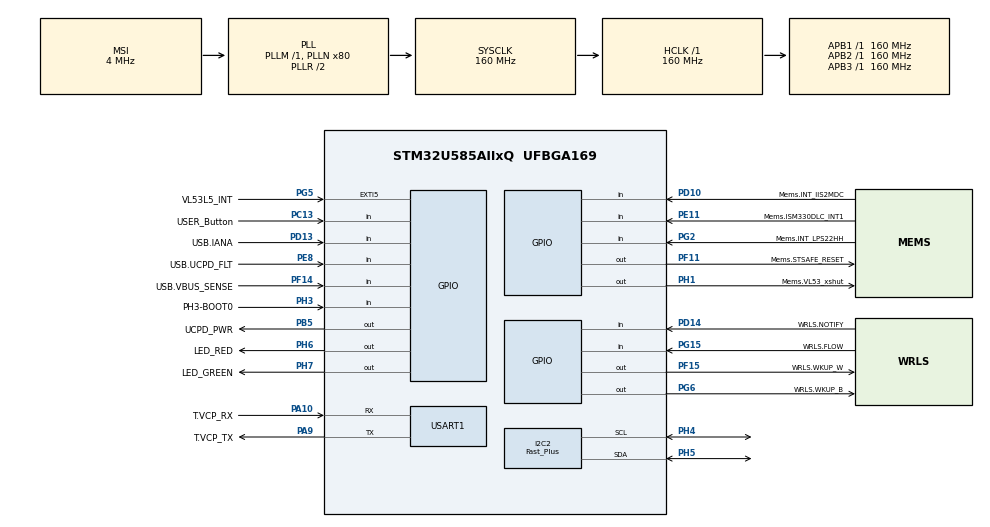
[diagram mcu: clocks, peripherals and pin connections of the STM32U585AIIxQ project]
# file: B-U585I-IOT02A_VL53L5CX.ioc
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CORTEX_M33_NS.userName=CORTEX_M33
I2C2.Analog_Filter=I2C_ANALOGFILTER_DISABLE
I2C2.I2C_Speed_Mode=I2C_Fast_Plus
I2C2.Timing=0x00702773
Mcu.Family=STM32U5
Mcu.Name=STM32U585AIIxQ
Mcu.Package=UFBGA169
NVIC.EXTI5_IRQn=true\:0\:0\:false\:false\:true\:true\:true\:true
NVIC.PriorityGroup=NVIC_PRIORITYGROUP_4
PA10.GPIO_Label=T.VCP_RX
PA10.Mode=Asynchronous
PA10.Signal=USART1_RX
PA11.GPIO_Label=USB.C_P
PA11.Signal=USB_OTG_FS_DM
PA12.GPIO_Label=USB.C_P
PA12.Signal=USB_OTG_FS_DP
PA13\ (JTMS/SWDIO).GPIO_Label=T.SWDIO
PA13\ (JTMS/SWDIO).Signal=DEBUG_JTMS-SWDIO
PA14\ (JTCK/SWCLK).GPIO_Label=T.SWCLK
PA14\ (JTCK/SWCLK).Signal=DEBUG_JTCK-SWCLK
PA15\ (JTDI).GPIO_Label=USB.UCPD_CC1
PA15\ (JTDI).Signal=UCPD1_CC1
PA9.GPIO_Label=T.VCP_TX
PA9.Mode=Asynchronous
PA9.Signal=USART1_TX
PB1.GPIO_Label=MIC.SDIN0
PB1.Signal=MDF1_SDI0
PB10.GPIO_Label=OCTOSPI.R_CLK_P
PB10.Signal=OCTOSPIM_P1_CLK
PB11.GPIO_Label=OCTOSPI.R_NCS
PB11.Signal=OCTOSPIM_P1_NCS
PB12.GPIO_Label=WRLS.SPI2_NSS
PB12.Signal=SPI2_NSS
PB15.GPIO_Label=USB.UCPD_CC2
PB15.Signal=UCPD1_CC2
PB3\ (JTDO/TRACESWO).GPIO_Label=T.SWO
PB3\ (JTDO/TRACESWO).Signal=DEBUG_JTDO-SWO
PB5.GPIO_Label=UCPD_PWR
PB5.Signal=GPIO_Output
PB8.Signal=I2C1_SCL
PB9.Signal=I2C1_SDA
PC10.GPIO_Label=WRLS.UART4_TX
PC10.Signal=UART4_TX
PC11.GPIO_Label=WRLS.UART4_RX
PC11.Signal=UART4_RX
PC13.GPIO_Label=USER_Button
PC13.Signal=GPIO_Input
PC14-OSC32_IN\ (PC14).GPIO_Label=PC14-OSC32_IN
PC14-OSC32_IN\ (PC14).Signal=RCC_OSC32_IN
PC15-OSC32_OUT\ (PC15).GPIO_Label=PC15-OSC32_OUT
PC15-OSC32_OUT\ (PC15).Signal=RCC_OSC32_OUT
PC3.GPIO_Label=OCTOSPI.R_IO6
PC3.Signal=OCTOSPIM_P1_IO6
PD1.GPIO_Label=WRLS.SPI2_SCK
PD1.Signal=SPI2_SCK
PD10.GPIO_Label=Mems.INT_IIS2MDC
PD10.Signal=GPIO_Input
PD13.GPIO_Label=USB.IANA
PD13.Signal=GPIO_Input
PD14.GPIO_Label=WRLS.NOTIFY
PD14.Signal=GPIO_Input
PD3.GPIO_Label=WRLS.SPI2_MISO
PD3.Signal=SPI2_MISO
PD4.GPIO_Label=WRLS.SPI2_MOSI
PD4.Signal=SPI2_MOSI
PD7.GPIO_Label=OCTOSPI.R_IO7
PD7.Signal=OCTOSPIM_P1_IO7
PE10.GPIO_Label=MIC.SDINx
PE10.Signal=ADF1_SDI0
PE11.GPIO_Label=Mems.ISM330DLC_INT1
PE11.Signal=GPIO_Input
PE3.GPIO_Label=OCTOSPI.R_DQS
PE3.Signal=OCTOSPIM_P1_DQS
PE8.GPIO_Label=USB.UCPD_FLT
PE8.Signal=GPIO_Input
PE9.GPIO_Label=MIC.CCK0
PE9.Signal=ADF1_CCK0
PF0.GPIO_Label=OCTOSPI.F_IO0
PF0.Signal=OCTOSPIM_P2_IO0
PF1.GPIO_Label=OCTOSPI.F_IO1
PF1.Signal=OCTOSPIM_P2_IO1
PF10.GPIO_Label=MIC.CCK1
PF10.Signal=MDF1_CCK1
PF11.GPIO_Label=Mems.STSAFE_RESET
PF11.Signal=GPIO_Output
PF12.GPIO_Label=OCTOSPI.F_DQS
PF12.Signal=OCTOSPIM_P2_DQS
PF14.GPIO_Label=USB.VBUS_SENSE
PF14.Signal=GPIO_Input
PF15.GPIO_Label=WRLS.WKUP_W
PF15.Signal=GPIO_Output
PF2.GPIO_Label=OCTOSPI.F_IO2
PF2.Signal=OCTOSPIM_P2_IO2
PF3.GPIO_Label=OCTOSPI.F_IO3
PF3.Signal=OCTOSPIM_P2_IO3
PF4.GPIO_Label=OCTOSPI.F_CLK_P
PF4.Signal=OCTOSPIM_P2_CLK
PF6.GPIO_Label=OCTOSPI.R_IO3
PF6.Signal=OCTOSPIM_P1_IO3
PF7.GPIO_Label=OCTOSPI.R_IO2
PF7.Signal=OCTOSPIM_P1_IO2
PF8.GPIO_Label=OCTOSPI.R_IO0
PF8.Signal=OCTOSPIM_P1_IO0
PF9.GPIO_Label=OCTOSPI.R_IO1
PF9.Signal=OCTOSPIM_P1_IO1
PG15.GPIO_Label=WRLS.FLOW
PG15.Signal=GPIO_Input
PG2.GPIO_Label=Mems.INT_LPS22HH
PG2.Signal=GPIO_Input
PG5.GPIO_Label=VL53L5_INT
PG5.GPIO_PuPd=GPIO_NOPULL
PG5.Signal=GPXTI5
PG6.GPIO_Label=WRLS.WKUP_B
PG6.Signal=GPIO_Output
PH1-OSC_OUT\ (PH1).GPIO_Label=Mems.VL53_xshut
PH1-OSC_OUT\ (PH1).GPIO_ModeDefaultOutputPP=GPIO_MODE_OUTPUT_PP
PH1-OSC_OUT\ (PH1).PinState=GPIO_PIN_SET
PH1-OSC_OUT\ (PH1).Signal=GPIO_Output
PH10.GPIO_Label=OCTOSPI.F_IO5
PH10.Signal=OCTOSPIM_P2_IO5
PH11.GPIO_Label=OCTOSPI.F_IO6
PH11.Signal=OCTOSPIM_P2_IO6
PH12.GPIO_Label=OCTOSPI.F_IO7
PH12.Signal=OCTOSPIM_P2_IO7
PH2.GPIO_Label=OCTOSPI.R_IO4
PH2.Signal=OCTOSPIM_P1_IO4
PH3-BOOT0.GPIO_Label=PH3-BOOT0
PH3-BOOT0.Signal=GPIO_Input
PH4.Mode=I2C
PH4.Signal=I2C2_SCL
PH5.Mode=I2C
PH5.Signal=I2C2_SDA
PH6.GPIO_Label=LED_RED
PH6.Signal=GPIO_Output
PH7.GPIO_Label=LED_GREEN
PH7.Signal=GPIO_Output
PH9.GPIO_Label=OCTOSPI.F_IO4
PH9.Signal=OCTOSPIM_P2_IO4
PI0.GPIO_Label=OCTOSPI.R_IO5
PI0.Signal=OCTOSPIM_P1_IO5
PI5.GPIO_Label=OCTOSPI.F_NCS
PI5.Signal=OCTOSPIM_P2_NCS
PWR.PowerMode=PWR_SMPS_SUPPLY
ProjectManager.HeapSize=0x200
ProjectManager.StackSize=0x400
ProjectManager.TargetToolchain=STM32CubeIDE
RCC.ADCFreq_Value=16000000
RCC.AHBFreq_Value=160000000
RCC.APB1Freq_Value=160000000
RCC.APB1TimFreq_Value=160000000
RCC.APB2Freq_Value=160000000
RCC.APB2TimFreq_Value=160000000
RCC.APB3Freq_Value=160000000
RCC.CortexFreq_Value=160000000
RCC.DACCLockSelectionVirtual=RCC_DAC1CLKSOURCE_LSI
RCC.DACCLockSelectionVirtualString=RCC_DAC1CLKSOURCE_LSI
RCC.EPOD_VALUE=4000000
RCC.HCLKFreq_Value=160000000
RCC.HSE_VALUE=16000000
RCC.HSI48_VALUE=48000000
RCC.HSI_VALUE=16000000
RCC.LSE_VALUE=32768
RCC.LSIDIV_VALUE=32000
RCC.MSI_VALUE=4000000
RCC.PLLN=80
RCC.SYSCLKFreq_VALUE=160000000
RCC.SYSCLKSource=RCC_SYSCLKSOURCE_PLLCLK
RCC.USBFreq_Value=48000000
RCC.VCOOutputFreq_Value=320000000
USART1.VirtualMode-Asynchronous=VM_ASYNC
VP_LPBAMQUEUE_VS_QUEUE.Mode=QUEUEMODE
VP_LPBAM_VS_SIG1.Mode=SmartRun
VP_LPBAM_VS_SIG4.Mode=LPDMA1
VP_PWR_VS_LPOM.Mode=PowerOptimisation
VP_PWR_VS_SECSignals.Mode=Security/Privilege
board=B-U585I-IOT02A

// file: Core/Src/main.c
/* USER CODE BEGIN Header */
/**
  ******************************************************************************
  * @file           : main.c
  * @brief          : Main program body
  ******************************************************************************
  * @attention
  *
  * Copyright (c) 2022 STMicroelectronics.
  * All rights reserved.
  *
  * This software is licensed under terms that can be found in the LICENSE file
  * in the root directory of this software component.
  * If no LICENSE file comes with this software, it is provided AS-IS.
  *
  ******************************************************************************
  */
/* USER CODE END Header */
#include "main.h"

/* USER CODE BEGIN Includes */
#include <stdlib.h>
#include <string.h>
#include <stdio.h>
#include "vl53l5cx_api.h"
#include "cycle_dwt.h"
#include "NanoEdgeAI.h"

/* USER CODE END Includes */

/* USER CODE BEGIN PD */
/************************************************************ NEAI algorithm defines begin ************************************************************/
/************************************************************ Global settings part ************************************************************/
#ifndef FRAME_RESOLUTION
  #define FRAME_RESOLUTION 	64                                   /* 16 if resolution is VL53L5CX_RESOLUTION_4X4 else, 64 if VL53L5CX_RESOLUTION_8X8 */
#endif
#ifndef FRAMES
  #define FRAMES            	1                                     /* Should be between 1 & 32 */
#endif
#ifndef DISTANCE_ODR
  #define DISTANCE_ODR      	15                                    /* Should be between 1 -> 60Hz for VL53L5CX_RESOLUTION_4X4 and 1 -> 15Hz for VL53L5CX_RESOLUTION_8X8 */
#endif
/************************************************************ Datalogger / NEAI mode part ************************************************************/
#ifndef NEAI_MODE
  #define NEAI_MODE         	0                                     /* 0: Datalogger mode, 1: NEAI functions mode */
#endif
#if (NEAI_MODE == 1)
  #ifndef NEAI_LEARN_NB
    #define NEAI_LEARN_NB   	20                                    /* Number of buffers to be learn by the NEAI library */
  #endif
#endif
/* USER CODE END PD */

I2C_HandleTypeDef hi2c2;

UART_HandleTypeDef huart1;

/* USER CODE BEGIN PV */
uint8_t status, isAlive, isReady;
uint8_t frame_counter = 0, neai_similarity = 0, neai_state = 0;
volatile uint8_t vl53l5_data_ready = 0;
uint16_t neai_cnt = 0;
float neai_time = 0.0;
float neai_buffer[FRAME_RESOLUTION * FRAMES] = {0.0};
VL53L5CX_Configuration Dev; /* Sensor configuration */
VL53L5CX_ResultsData Results; /* Results data from VL53L5CX */

/* USER CODE END PV */

void SystemClock_Config(void);
static void SystemPower_Config(void);
static void MX_GPIO_Init(void);
static void MX_I2C2_Init(void);
static void MX_USART1_UART_Init(void);
/* USER CODE BEGIN PFP */
static void vl53l5cx_initialize(void);

/* USER CODE END PFP */

int main(void)
{
  /* USER CODE BEGIN 1 */
  Dev.platform.address = VL53L5CX_DEFAULT_I2C_ADDRESS;
  /* USER CODE END 1 */

  /* MCU Configuration--------------------------------------------------------*/

  /* Reset of all peripherals, Initializes the Flash interface and the Systick. */
  HAL_Init();

  /* Configure the system clock */
  SystemClock_Config();

  /* Configure the System Power */
  SystemPower_Config();

  /* Initialize all configured peripherals */
  MX_GPIO_Init();
  MX_I2C2_Init();
  MX_USART1_UART_Init();
  /* USER CODE BEGIN 2 */
  KIN1_InitCycleCounter();
  KIN1_EnableCycleCounter();
  vl53l5cx_initialize();
  if (NEAI_MODE) {
    neai_state = neai_anomalydetection_init();
    printf("Initialize NEAI library. NEAI init return: %d.\n",  neai_state);
  }
  /* USER CODE END 2 */

  /* Infinite loop */
  /* USER CODE BEGIN WHILE */
  while (1)
  {
    if(vl53l5_data_ready) {
      vl53l5cx_get_ranging_data(&Dev, &Results);
      for(uint16_t i = 0; i < FRAME_RESOLUTION; i++)
      {
        neai_buffer[(frame_counter * FRAME_RESOLUTION) + i] =
        (Results.target_status[VL53L5CX_NB_TARGET_PER_ZONE * i] != 0xFF) ? Results.distance_mm[VL53L5CX_NB_TARGET_PER_ZONE * i] : 0;
      }
      if (frame_counter < FRAMES - 1) {
        frame_counter++;
      }
      else {
        status = vl53l5cx_stop_ranging(&Dev);
        frame_counter = 0;
#if NEAI_MODE
        uint32_t cycles_cnt = 0;
        if (neai_cnt < NEAI_LEARN_NB) {
          neai_cnt++;
          KIN1_ResetCycleCounter();
          neai_state = neai_anomalydetection_learn(neai_buffer);
          cycles_cnt = KIN1_GetCycleCounter();
          neai_time = (cycles_cnt * 1000000.0) / HAL_RCC_GetSysClockFreq();
          printf("Learn: %d / %d. NEAI learn return: %d. Cycles counter: %ld = %.1f µs at %ld Hz.\n",
                neai_cnt, NEAI_LEARN_NB, neai_state, cycles_cnt, neai_time, HAL_RCC_GetSysClockFreq());
        }
        else {
          KIN1_ResetCycleCounter();
          neai_state = neai_anomalydetection_detect(neai_buffer, &neai_similarity);
          cycles_cnt = KIN1_GetCycleCounter();
          neai_time = (cycles_cnt * 1000000.0) / HAL_RCC_GetSysClockFreq();
          printf("Similarity: %d / 100. NEAI detect return: %d. Cycles counter: %ld = %.1f µs at %ld Hz.\n",
                neai_similarity, neai_state, cycles_cnt, neai_time, HAL_RCC_GetSysClockFreq());
        }
#else
        for (uint16_t i = 0; i < (uint16_t) (FRAME_RESOLUTION * FRAMES); i++) {
          printf("%.3f ", neai_buffer[i]);
        }
        printf("\n");
#endif
        status = vl53l5cx_start_ranging(&Dev);
      }
      vl53l5_data_ready = 0;
    }
    /* USER CODE END WHILE */

  }
}

void SystemClock_Config(void)
{
  RCC_OscInitTypeDef RCC_OscInitStruct = {0};
  RCC_ClkInitTypeDef RCC_ClkInitStruct = {0};

  /** Configure the main internal regulator output voltage
  */
  if (HAL_PWREx_ControlVoltageScaling(PWR_REGULATOR_VOLTAGE_SCALE1) != HAL_OK)
  {
    Error_Handler();
  }

  /** Initializes the CPU, AHB and APB buses clocks
  */
  RCC_OscInitStruct.OscillatorType = RCC_OSCILLATORTYPE_MSI;
  RCC_OscInitStruct.MSIState = RCC_MSI_ON;
  RCC_OscInitStruct.MSICalibrationValue = RCC_MSICALIBRATION_DEFAULT;
  RCC_OscInitStruct.MSIClockRange = RCC_MSIRANGE_4;
  RCC_OscInitStruct.PLL.PLLState = RCC_PLL_ON;
  RCC_OscInitStruct.PLL.PLLSource = RCC_PLLSOURCE_MSI;
  RCC_OscInitStruct.PLL.PLLMBOOST = RCC_PLLMBOOST_DIV1;
  RCC_OscInitStruct.PLL.PLLM = 1;
  RCC_OscInitStruct.PLL.PLLN = 80;
  RCC_OscInitStruct.PLL.PLLP = 2;
  RCC_OscInitStruct.PLL.PLLQ = 2;
  RCC_OscInitStruct.PLL.PLLR = 2;
  RCC_OscInitStruct.PLL.PLLRGE = RCC_PLLVCIRANGE_0;
  RCC_OscInitStruct.PLL.PLLFRACN = 0;
  if (HAL_RCC_OscConfig(&RCC_OscInitStruct) != HAL_OK)
  {
    Error_Handler();
  }

  /** Initializes the CPU, AHB and APB buses clocks
  */
  RCC_ClkInitStruct.ClockType = RCC_CLOCKTYPE_HCLK|RCC_CLOCKTYPE_SYSCLK
                              |RCC_CLOCKTYPE_PCLK1|RCC_CLOCKTYPE_PCLK2
                              |RCC_CLOCKTYPE_PCLK3;
  RCC_ClkInitStruct.SYSCLKSource = RCC_SYSCLKSOURCE_PLLCLK;
  RCC_ClkInitStruct.AHBCLKDivider = RCC_SYSCLK_DIV1;
  RCC_ClkInitStruct.APB1CLKDivider = RCC_HCLK_DIV1;
  RCC_ClkInitStruct.APB2CLKDivider = RCC_HCLK_DIV1;
  RCC_ClkInitStruct.APB3CLKDivider = RCC_HCLK_DIV1;

  if (HAL_RCC_ClockConfig(&RCC_ClkInitStruct, FLASH_LATENCY_4) != HAL_OK)
  {
    Error_Handler();
  }
}

/**
  * @brief Power Configuration
  * @retval None
  */
static void SystemPower_Config(void)
{
  HAL_PWREx_EnableVddIO2();

  /*
   * Switch to SMPS regulator instead of LDO
   */
  if (HAL_PWREx_ConfigSupply(PWR_SMPS_SUPPLY) != HAL_OK)
  {
    Error_Handler();
  }
}

static void MX_I2C2_Init(void)
{

  hi2c2.Instance = I2C2;
  hi2c2.Init.Timing = 0x00702773;
  hi2c2.Init.OwnAddress1 = 0;
  hi2c2.Init.AddressingMode = I2C_ADDRESSINGMODE_7BIT;
  hi2c2.Init.DualAddressMode = I2C_DUALADDRESS_DISABLE;
  hi2c2.Init.OwnAddress2 = 0;
  hi2c2.Init.OwnAddress2Masks = I2C_OA2_NOMASK;
  hi2c2.Init.GeneralCallMode = I2C_GENERALCALL_DISABLE;
  hi2c2.Init.NoStretchMode = I2C_NOSTRETCH_DISABLE;
  if (HAL_I2C_Init(&hi2c2) != HAL_OK)
  {
    Error_Handler();
  }

  /** Configure Analogue filter
  */
  if (HAL_I2CEx_ConfigAnalogFilter(&hi2c2, I2C_ANALOGFILTER_DISABLE) != HAL_OK)
  {
    Error_Handler();
  }

  /** Configure Digital filter
  */
  if (HAL_I2CEx_ConfigDigitalFilter(&hi2c2, 0) != HAL_OK)
  {
    Error_Handler();
  }

  /** I2C Fast mode Plus enable
  */
  if (HAL_I2CEx_ConfigFastModePlus(&hi2c2, I2C_FASTMODEPLUS_ENABLE) != HAL_OK)
  {
    Error_Handler();
  }

}

static void MX_USART1_UART_Init(void)
{

  huart1.Instance = USART1;
  huart1.Init.BaudRate = 115200;
  huart1.Init.WordLength = UART_WORDLENGTH_8B;
  huart1.Init.StopBits = UART_STOPBITS_1;
  huart1.Init.Parity = UART_PARITY_NONE;
  huart1.Init.Mode = UART_MODE_TX_RX;
  huart1.Init.HwFlowCtl = UART_HWCONTROL_NONE;
  huart1.Init.OverSampling = UART_OVERSAMPLING_16;
  huart1.Init.OneBitSampling = UART_ONE_BIT_SAMPLE_DISABLE;
  huart1.Init.ClockPrescaler = UART_PRESCALER_DIV1;
  huart1.AdvancedInit.AdvFeatureInit = UART_ADVFEATURE_NO_INIT;
  if (HAL_UART_Init(&huart1) != HAL_OK)
  {
    Error_Handler();
  }
  if (HAL_UARTEx_SetTxFifoThreshold(&huart1, UART_TXFIFO_THRESHOLD_1_8) != HAL_OK)
  {
    Error_Handler();
  }
  if (HAL_UARTEx_SetRxFifoThreshold(&huart1, UART_RXFIFO_THRESHOLD_1_8) != HAL_OK)
  {
    Error_Handler();
  }
  if (HAL_UARTEx_DisableFifoMode(&huart1) != HAL_OK)
  {
    Error_Handler();
  }

}

static void MX_GPIO_Init(void)
{
  GPIO_InitTypeDef GPIO_InitStruct = {0};

  /* GPIO Ports Clock Enable */
  __HAL_RCC_GPIOG_CLK_ENABLE();
  __HAL_RCC_GPIOC_CLK_ENABLE();
  __HAL_RCC_GPIOA_CLK_ENABLE();
  __HAL_RCC_GPIOI_CLK_ENABLE();
  __HAL_RCC_GPIOH_CLK_ENABLE();
  __HAL_RCC_GPIOB_CLK_ENABLE();
  __HAL_RCC_GPIOD_CLK_ENABLE();
  __HAL_RCC_GPIOE_CLK_ENABLE();
  __HAL_RCC_GPIOF_CLK_ENABLE();

  /*Configure GPIO pin Output Level */
  HAL_GPIO_WritePin(UCPD_PWR_GPIO_Port, UCPD_PWR_Pin, GPIO_PIN_RESET);

  /*Configure GPIO pin Output Level */
  HAL_GPIO_WritePin(GPIOH, LED_RED_Pin|LED_GREEN_Pin, GPIO_PIN_RESET);

  /*Configure GPIO pin Output Level */
  HAL_GPIO_WritePin(WRLS_WKUP_B_GPIO_Port, WRLS_WKUP_B_Pin, GPIO_PIN_RESET);

  /*Configure GPIO pin Output Level */
  HAL_GPIO_WritePin(Mems_VL53_xshut_GPIO_Port, Mems_VL53_xshut_Pin, GPIO_PIN_SET);

  /*Configure GPIO pin Output Level */
  HAL_GPIO_WritePin(GPIOF, Mems_STSAFE_RESET_Pin|WRLS_WKUP_W_Pin, GPIO_PIN_RESET);

  /*Configure GPIO pins : WRLS_FLOW_Pin Mems_INT_LPS22HH_Pin */
  GPIO_InitStruct.Pin = WRLS_FLOW_Pin|Mems_INT_LPS22HH_Pin;
  GPIO_InitStruct.Mode = GPIO_MODE_INPUT;
  GPIO_InitStruct.Pull = GPIO_NOPULL;
  HAL_GPIO_Init(GPIOG, &GPIO_InitStruct);

  /*Configure GPIO pins : WRLS_UART4_RX_Pin WRLS_UART4_TX_Pin */
  GPIO_InitStruct.Pin = WRLS_UART4_RX_Pin|WRLS_UART4_TX_Pin;
  GPIO_InitStruct.Mode = GPIO_MODE_AF_PP;
  GPIO_InitStruct.Pull = GPIO_NOPULL;
  GPIO_InitStruct.Speed = GPIO_SPEED_FREQ_LOW;
  GPIO_InitStruct.Alternate = GPIO_AF8_UART4;
  HAL_GPIO_Init(GPIOC, &GPIO_InitStruct);

  /*Configure GPIO pin : USB_UCPD_CC1_Pin */
  GPIO_InitStruct.Pin = USB_UCPD_CC1_Pin;
  GPIO_InitStruct.Mode = GPIO_MODE_ANALOG;
  GPIO_InitStruct.Pull = GPIO_NOPULL;
  HAL_GPIO_Init(USB_UCPD_CC1_GPIO_Port, &GPIO_InitStruct);

  /*Configure GPIO pin : OCTOSPI_F_NCS_Pin */
  GPIO_InitStruct.Pin = OCTOSPI_F_NCS_Pin;
  GPIO_InitStruct.Mode = GPIO_MODE_AF_PP;
  GPIO_InitStruct.Pull = GPIO_NOPULL;
  GPIO_InitStruct.Speed = GPIO_SPEED_FREQ_VERY_HIGH;
  GPIO_InitStruct.Alternate = GPIO_AF5_OCTOSPI2;
  HAL_GPIO_Init(OCTOSPI_F_NCS_GPIO_Port, &GPIO_InitStruct);

  /*Configure GPIO pin : OCTOSPI_R_IO5_Pin */
  GPIO_InitStruct.Pin = OCTOSPI_R_IO5_Pin;
  GPIO_InitStruct.Mode = GPIO_MODE_AF_PP;
  GPIO_InitStruct.Pull = GPIO_NOPULL;
  GPIO_InitStruct.Speed = GPIO_SPEED_FREQ_VERY_HIGH;
  GPIO_InitStruct.Alternate = GPIO_AF3_OCTOSPI1;
  HAL_GPIO_Init(OCTOSPI_R_IO5_GPIO_Port, &GPIO_InitStruct);

  /*Configure GPIO pins : OCTOSPI_F_IO7_Pin OCTOSPI_F_IO5_Pin OCTOSPI_F_IO6_Pin OCTOSPI_F_IO4_Pin */
  GPIO_InitStruct.Pin = OCTOSPI_F_IO7_Pin|OCTOSPI_F_IO5_Pin|OCTOSPI_F_IO6_Pin|OCTOSPI_F_IO4_Pin;
  GPIO_InitStruct.Mode = GPIO_MODE_AF_PP;
  GPIO_InitStruct.Pull = GPIO_NOPULL;
  GPIO_InitStruct.Speed = GPIO_SPEED_FREQ_VERY_HIGH;
  GPIO_InitStruct.Alternate = GPIO_AF5_OCTOSPI2;
  HAL_GPIO_Init(GPIOH, &GPIO_InitStruct);

  /*Configure GPIO pin : PH3_BOOT0_Pin */
  GPIO_InitStruct.Pin = PH3_BOOT0_Pin;
  GPIO_InitStruct.Mode = GPIO_MODE_INPUT;
  GPIO_InitStruct.Pull = GPIO_NOPULL;
  HAL_GPIO_Init(PH3_BOOT0_GPIO_Port, &GPIO_InitStruct);

  /*Configure GPIO pin : UCPD_PWR_Pin */
  GPIO_InitStruct.Pin = UCPD_PWR_Pin;
  GPIO_InitStruct.Mode = GPIO_MODE_OUTPUT_PP;
  GPIO_InitStruct.Pull = GPIO_NOPULL;
  GPIO_InitStruct.Speed = GPIO_SPEED_FREQ_LOW;
  HAL_GPIO_Init(UCPD_PWR_GPIO_Port, &GPIO_InitStruct);

  /*Configure GPIO pins : WRLS_SPI2_MOSI_Pin WRLS_SPI2_MISO_Pin WRLS_SPI2_SCK_Pin */
  GPIO_InitStruct.Pin = WRLS_SPI2_MOSI_Pin|WRLS_SPI2_MISO_Pin|WRLS_SPI2_SCK_Pin;
  GPIO_InitStruct.Mode = GPIO_MODE_AF_PP;
  GPIO_InitStruct.Pull = GPIO_NOPULL;
  GPIO_InitStruct.Speed = GPIO_SPEED_FREQ_LOW;
  GPIO_InitStruct.Alternate = GPIO_AF5_SPI2;
  HAL_GPIO_Init(GPIOD, &GPIO_InitStruct);

  /*Configure GPIO pin : OCTOSPI_R_DQS_Pin */
  GPIO_InitStruct.Pin = OCTOSPI_R_DQS_Pin;
  GPIO_InitStruct.Mode = GPIO_MODE_AF_PP;
  GPIO_InitStruct.Pull = GPIO_NOPULL;
  GPIO_InitStruct.Speed = GPIO_SPEED_FREQ_VERY_HIGH;
  GPIO_InitStruct.Alternate = GPIO_AF3_OCTOSPI1;
  HAL_GPIO_Init(OCTOSPI_R_DQS_GPIO_Port, &GPIO_InitStruct);

  /*Configure GPIO pins : PB9 PB8 */
  GPIO_InitStruct.Pin = GPIO_PIN_9|GPIO_PIN_8;
  GPIO_InitStruct.Mode = GPIO_MODE_AF_OD;
  GPIO_InitStruct.Pull = GPIO_NOPULL;
  GPIO_InitStruct.Speed = GPIO_SPEED_FREQ_LOW;
  GPIO_InitStruct.Alternate = GPIO_AF4_I2C1;
  HAL_GPIO_Init(GPIOB, &GPIO_InitStruct);

  /*Configure GPIO pin : OCTOSPI_R_IO7_Pin */
  GPIO_InitStruct.Pin = OCTOSPI_R_IO7_Pin;
  GPIO_InitStruct.Mode = GPIO_MODE_AF_PP;
  GPIO_InitStruct.Pull = GPIO_NOPULL;
  GPIO_InitStruct.Speed = GPIO_SPEED_FREQ_VERY_HIGH;
  GPIO_InitStruct.Alternate = GPIO_AF10_OCTOSPI1;
  HAL_GPIO_Init(OCTOSPI_R_IO7_GPIO_Port, &GPIO_InitStruct);

  /*Configure GPIO pins : OCTOSPI_F_IO0_Pin OCTOSPI_F_IO1_Pin OCTOSPI_F_IO2_Pin OCTOSPI_F_IO3_Pin
                           OCTOSPI_F_CLK_P_Pin OCTOSPI_F_DQS_Pin */
  GPIO_InitStruct.Pin = OCTOSPI_F_IO0_Pin|OCTOSPI_F_IO1_Pin|OCTOSPI_F_IO2_Pin|OCTOSPI_F_IO3_Pin
                          |OCTOSPI_F_CLK_P_Pin|OCTOSPI_F_DQS_Pin;
  GPIO_InitStruct.Mode = GPIO_MODE_AF_PP;
  GPIO_InitStruct.Pull = GPIO_NOPULL;
  GPIO_InitStruct.Speed = GPIO_SPEED_FREQ_VERY_HIGH;
  GPIO_InitStruct.Alternate = GPIO_AF5_OCTOSPI2;
  HAL_GPIO_Init(GPIOF, &GPIO_InitStruct);

  /*Configure GPIO pin : USER_Button_Pin */
  GPIO_InitStruct.Pin = USER_Button_Pin;
  GPIO_InitStruct.Mode = GPIO_MODE_INPUT;
  GPIO_InitStruct.Pull = GPIO_NOPULL;
  HAL_GPIO_Init(USER_Button_GPIO_Port, &GPIO_InitStruct);

  /*Configure GPIO pins : LED_RED_Pin LED_GREEN_Pin Mems_VL53_xshut_Pin */
  GPIO_InitStruct.Pin = LED_RED_Pin|LED_GREEN_Pin|Mems_VL53_xshut_Pin;
  GPIO_InitStruct.Mode = GPIO_MODE_OUTPUT_PP;
  GPIO_InitStruct.Pull = GPIO_NOPULL;
  GPIO_InitStruct.Speed = GPIO_SPEED_FREQ_LOW;
  HAL_GPIO_Init(GPIOH, &GPIO_InitStruct);

  /*Configure GPIO pins : OCTOSPI_R_IO0_Pin OCTOSPI_R_IO2_Pin OCTOSPI_R_IO1_Pin OCTOSPI_R_IO3_Pin */
  GPIO_InitStruct.Pin = OCTOSPI_R_IO0_Pin|OCTOSPI_R_IO2_Pin|OCTOSPI_R_IO1_Pin|OCTOSPI_R_IO3_Pin;
  GPIO_InitStruct.Mode = GPIO_MODE_AF_PP;
  GPIO_InitStruct.Pull = GPIO_NOPULL;
  GPIO_InitStruct.Speed = GPIO_SPEED_FREQ_VERY_HIGH;
  GPIO_InitStruct.Alternate = GPIO_AF10_OCTOSPI1;
  HAL_GPIO_Init(GPIOF, &GPIO_InitStruct);

  /*Configure GPIO pin : OCTOSPI_R_IO4_Pin */
  GPIO_InitStruct.Pin = OCTOSPI_R_IO4_Pin;
  GPIO_InitStruct.Mode = GPIO_MODE_AF_PP;
  GPIO_InitStruct.Pull = GPIO_NOPULL;
  GPIO_InitStruct.Speed = GPIO_SPEED_FREQ_VERY_HIGH;
  GPIO_InitStruct.Alternate = GPIO_AF3_OCTOSPI1;
  HAL_GPIO_Init(OCTOSPI_R_IO4_GPIO_Port, &GPIO_InitStruct);

  /*Configure GPIO pins : USB_C_P_Pin USB_C_PA11_Pin */
  GPIO_InitStruct.Pin = USB_C_P_Pin|USB_C_PA11_Pin;
  GPIO_InitStruct.Mode = GPIO_MODE_AF_PP;
  GPIO_InitStruct.Pull = GPIO_NOPULL;
  GPIO_InitStruct.Speed = GPIO_SPEED_FREQ_LOW;
  GPIO_InitStruct.Alternate = GPIO_AF10_USB;
  HAL_GPIO_Init(GPIOA, &GPIO_InitStruct);

  /*Configure GPIO pin : MIC_CCK1_Pin */
  GPIO_InitStruct.Pin = MIC_CCK1_Pin;
  GPIO_InitStruct.Mode = GPIO_MODE_AF_PP;
  GPIO_InitStruct.Pull = GPIO_NOPULL;
  GPIO_InitStruct.Speed = GPIO_SPEED_FREQ_LOW;
  GPIO_InitStruct.Alternate = GPIO_AF6_MDF1;
  HAL_GPIO_Init(MIC_CCK1_GPIO_Port, &GPIO_InitStruct);

  /*Configure GPIO pins : MIC_SDINx_Pin MIC_CCK0_Pin */
  GPIO_InitStruct.Pin = MIC_SDINx_Pin|MIC_CCK0_Pin;
  GPIO_InitStruct.Mode = GPIO_MODE_AF_PP;
  GPIO_InitStruct.Pull = GPIO_NOPULL;
  GPIO_InitStruct.Speed = GPIO_SPEED_FREQ_LOW;
  GPIO_InitStruct.Alternate = GPIO_AF3_ADF1;
  HAL_GPIO_Init(GPIOE, &GPIO_InitStruct);

  /*Configure GPIO pin : WRLS_WKUP_B_Pin */
  GPIO_InitStruct.Pin = WRLS_WKUP_B_Pin;
  GPIO_InitStruct.Mode = GPIO_MODE_OUTPUT_PP;
  GPIO_InitStruct.Pull = GPIO_NOPULL;
  GPIO_InitStruct.Speed = GPIO_SPEED_FREQ_LOW;
  HAL_GPIO_Init(WRLS_WKUP_B_GPIO_Port, &GPIO_InitStruct);

  /*Configure GPIO pin : VL53L5_INT_Pin */
  GPIO_InitStruct.Pin = VL53L5_INT_Pin;
  GPIO_InitStruct.Mode = GPIO_MODE_IT_RISING;
  GPIO_InitStruct.Pull = GPIO_NOPULL;
  HAL_GPIO_Init(VL53L5_INT_GPIO_Port, &GPIO_InitStruct);

  /*Configure GPIO pins : WRLS_NOTIFY_Pin Mems_INT_IIS2MDC_Pin USB_IANA_Pin */
  GPIO_InitStruct.Pin = WRLS_NOTIFY_Pin|Mems_INT_IIS2MDC_Pin|USB_IANA_Pin;
  GPIO_InitStruct.Mode = GPIO_MODE_INPUT;
  GPIO_InitStruct.Pull = GPIO_NOPULL;
  HAL_GPIO_Init(GPIOD, &GPIO_InitStruct);

  /*Configure GPIO pin : OCTOSPI_R_IO6_Pin */
  GPIO_InitStruct.Pin = OCTOSPI_R_IO6_Pin;
  GPIO_InitStruct.Mode = GPIO_MODE_AF_PP;
  GPIO_InitStruct.Pull = GPIO_NOPULL;
  GPIO_InitStruct.Speed = GPIO_SPEED_FREQ_VERY_HIGH;
  GPIO_InitStruct.Alternate = GPIO_AF10_OCTOSPI1;
  HAL_GPIO_Init(OCTOSPI_R_IO6_GPIO_Port, &GPIO_InitStruct);

  /*Configure GPIO pins : USB_UCPD_FLT_Pin Mems_ISM330DLC_INT1_Pin */
  GPIO_InitStruct.Pin = USB_UCPD_FLT_Pin|Mems_ISM330DLC_INT1_Pin;
  GPIO_InitStruct.Mode = GPIO_MODE_INPUT;
  GPIO_InitStruct.Pull = GPIO_NOPULL;
  HAL_GPIO_Init(GPIOE, &GPIO_InitStruct);

  /*Configure GPIO pins : OCTOSPI_R_CLK_P_Pin OCTOSPI_R_NCS_Pin */
  GPIO_InitStruct.Pin = OCTOSPI_R_CLK_P_Pin|OCTOSPI_R_NCS_Pin;
  GPIO_InitStruct.Mode = GPIO_MODE_AF_PP;
  GPIO_InitStruct.Pull = GPIO_NOPULL;
  GPIO_InitStruct.Speed = GPIO_SPEED_FREQ_VERY_HIGH;
  GPIO_InitStruct.Alternate = GPIO_AF10_OCTOSPI1;
  HAL_GPIO_Init(GPIOB, &GPIO_InitStruct);

  /*Configure GPIO pin : USB_VBUS_SENSE_Pin */
  GPIO_InitStruct.Pin = USB_VBUS_SENSE_Pin;
  GPIO_InitStruct.Mode = GPIO_MODE_INPUT;
  GPIO_InitStruct.Pull = GPIO_NOPULL;
  HAL_GPIO_Init(USB_VBUS_SENSE_GPIO_Port, &GPIO_InitStruct);

  /*Configure GPIO pin : WRLS_SPI2_NSS_Pin */
  GPIO_InitStruct.Pin = WRLS_SPI2_NSS_Pin;
  GPIO_InitStruct.Mode = GPIO_MODE_AF_PP;
  GPIO_InitStruct.Pull = GPIO_NOPULL;
  GPIO_InitStruct.Speed = GPIO_SPEED_FREQ_LOW;
  GPIO_InitStruct.Alternate = GPIO_AF5_SPI2;
  HAL_GPIO_Init(WRLS_SPI2_NSS_GPIO_Port, &GPIO_InitStruct);

  /*Configure GPIO pin : USB_UCPD_CC2_Pin */
  GPIO_InitStruct.Pin = USB_UCPD_CC2_Pin;
  GPIO_InitStruct.Mode = GPIO_MODE_ANALOG;
  GPIO_InitStruct.Pull = GPIO_NOPULL;
  HAL_GPIO_Init(USB_UCPD_CC2_GPIO_Port, &GPIO_InitStruct);

  /*Configure GPIO pins : Mems_STSAFE_RESET_Pin WRLS_WKUP_W_Pin */
  GPIO_InitStruct.Pin = Mems_STSAFE_RESET_Pin|WRLS_WKUP_W_Pin;
  GPIO_InitStruct.Mode = GPIO_MODE_OUTPUT_PP;
  GPIO_InitStruct.Pull = GPIO_NOPULL;
  GPIO_InitStruct.Speed = GPIO_SPEED_FREQ_LOW;
  HAL_GPIO_Init(GPIOF, &GPIO_InitStruct);

  /*Configure GPIO pin : MIC_SDIN0_Pin */
  GPIO_InitStruct.Pin = MIC_SDIN0_Pin;
  GPIO_InitStruct.Mode = GPIO_MODE_AF_PP;
  GPIO_InitStruct.Pull = GPIO_NOPULL;
  GPIO_InitStruct.Speed = GPIO_SPEED_FREQ_LOW;
  GPIO_InitStruct.Alternate = GPIO_AF6_MDF1;
  HAL_GPIO_Init(MIC_SDIN0_GPIO_Port, &GPIO_InitStruct);

  /* EXTI interrupt init*/
  HAL_NVIC_SetPriority(EXTI5_IRQn, 0, 0);
  HAL_NVIC_EnableIRQ(EXTI5_IRQn);

}

/* USER CODE BEGIN 4 */
/**
  * @brief 	Redirecting stdout to USART1 which is connected on the STLINK port
  * @retval
  * @param
  */
int __io_putchar(int ch)
{
 uint8_t c[1];
 c[0] = ch & 0x00FF;
 HAL_UART_Transmit(&huart1, &*c, 1, 10);
 return ch;
}

/**
  * @brief  VL53L5CX initialization function with the defined settings
  * @retval
  * @param
  */
static void vl53l5cx_initialize()
{
  do {
    HAL_Delay(10);
    /* Check if there is a VL53L5CX sensor connected */
    status = vl53l5cx_is_alive(&Dev, &isAlive);
  } while(!isAlive || status);

  /* Init VL53L5CX sensor */
  status = vl53l5cx_init(&Dev);

  if(status)
  {
    printf("VL53L5CX ULD Loading failed\n");
    while(1);
  }

  status = vl53l5cx_set_ranging_frequency_hz(&Dev, DISTANCE_ODR);
  status = vl53l5cx_set_resolution(&Dev, FRAME_RESOLUTION);
  status = vl53l5cx_set_ranging_mode(&Dev, VL53L5CX_RANGING_MODE_CONTINUOUS);
  status = vl53l5cx_start_ranging(&Dev);
}

/**
  * @brief  EXTI line rising detection callback.
  * @param  GPIO_Pin: Specifies the port pin connected to corresponding EXTI line.
  * @retval None
  */
void HAL_GPIO_EXTI_Rising_Callback(uint16_t GPIO_Pin)
{
  switch (GPIO_Pin) {
  case VL53L5_INT_Pin:
    vl53l5_data_ready = 1;
    break;
  }
}

/* USER CODE END 4 */

void Error_Handler(void)
{
  __disable_irq();
  while (1)
  {
  }
}
